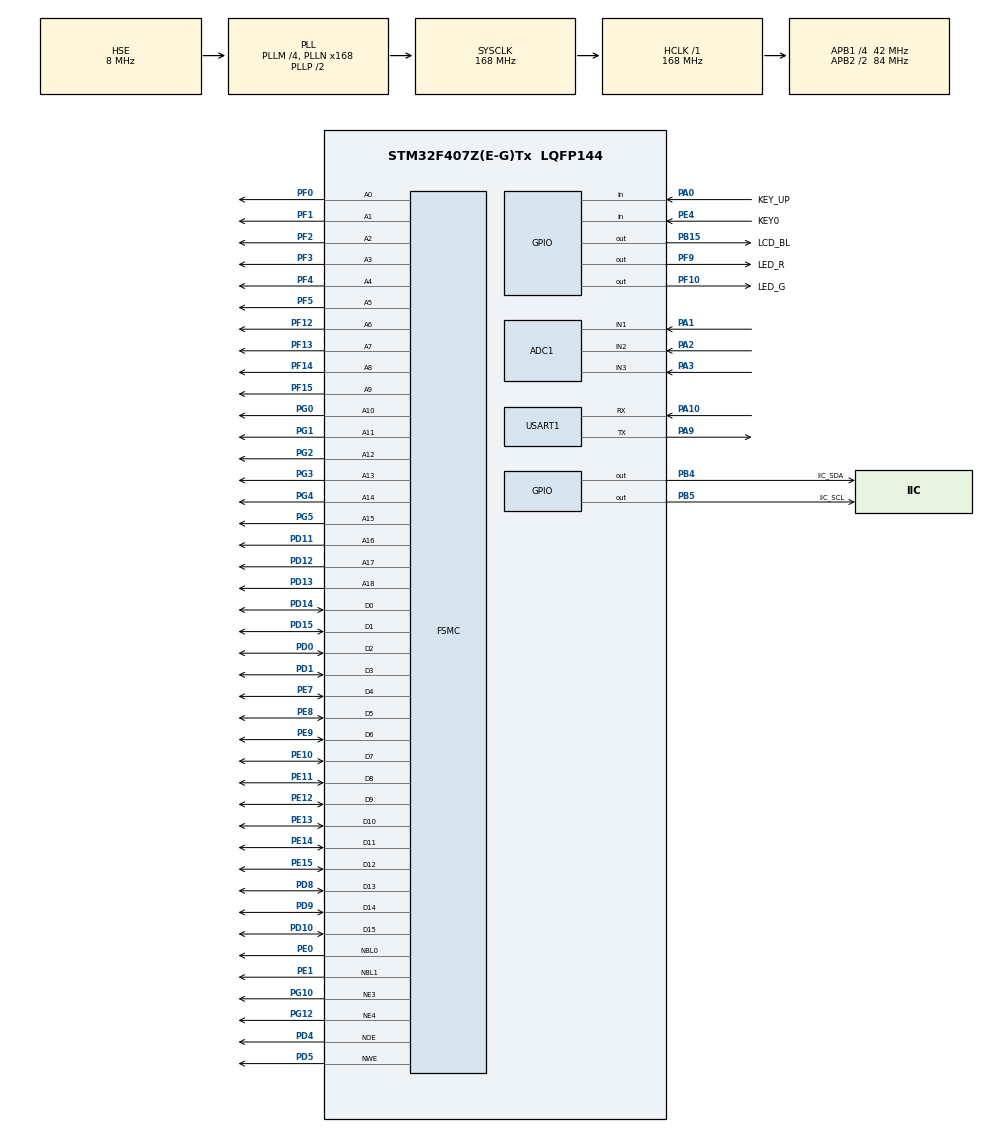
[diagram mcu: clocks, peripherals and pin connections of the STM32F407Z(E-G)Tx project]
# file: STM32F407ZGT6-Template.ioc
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ADC1.Channel-1\#ChannelRegularConversion=ADC_CHANNEL_1
ADC1.Channel-2\#ChannelRegularConversion=ADC_CHANNEL_2
ADC1.Channel-3\#ChannelRegularConversion=ADC_CHANNEL_3
ADC1.Channel-4\#ChannelRegularConversion=ADC_CHANNEL_TEMPSENSOR
ADC1.DMAContinuousRequests=DISABLE
ADC1.NbrOfConversion=4
ADC1.NbrOfConversionFlag=1
ADC1.Rank-1\#ChannelRegularConversion=1
ADC1.Rank-2\#ChannelRegularConversion=2
ADC1.Rank-3\#ChannelRegularConversion=3
ADC1.Rank-4\#ChannelRegularConversion=4
ADC1.SamplingTime-1\#ChannelRegularConversion=ADC_SAMPLETIME_28CYCLES
ADC1.SamplingTime-2\#ChannelRegularConversion=ADC_SAMPLETIME_28CYCLES
ADC1.SamplingTime-3\#ChannelRegularConversion=ADC_SAMPLETIME_28CYCLES
ADC1.SamplingTime-4\#ChannelRegularConversion=ADC_SAMPLETIME_28CYCLES
ADC1.master=1
Dma.ADC1.0.Direction=DMA_PERIPH_TO_MEMORY
Dma.ADC1.0.FIFOMode=DMA_FIFOMODE_DISABLE
Dma.ADC1.0.Instance=DMA2_Stream0
Dma.ADC1.0.MemDataAlignment=DMA_MDATAALIGN_WORD
Dma.ADC1.0.MemInc=DMA_MINC_ENABLE
Dma.ADC1.0.Mode=DMA_CIRCULAR
Dma.ADC1.0.PeriphDataAlignment=DMA_PDATAALIGN_WORD
Dma.ADC1.0.PeriphInc=DMA_PINC_DISABLE
Dma.ADC1.0.Priority=DMA_PRIORITY_MEDIUM
Dma.Request0=ADC1
FSMC.AddressSetupTime3=0
FSMC.AddressSetupTime4=2
FSMC.BusTurnAroundDuration3=0
FSMC.BusTurnAroundDuration4=0
FSMC.DataSetupTime3=8
FSMC.DataSetupTime4=16
FSMC.ExtendedAddressSetupTime4=4
FSMC.ExtendedBusTurnAroundDuration4=0
FSMC.ExtendedDataSetupTime4=9
FSMC.ExtendedMode4=FSMC_EXTENDED_MODE_ENABLE
FSMC.WriteOperation3=FSMC_WRITE_OPERATION_ENABLE
Mcu.Family=STM32F4
Mcu.Name=STM32F407Z(E-G)Tx
Mcu.Package=LQFP144
NVIC.DMA2_Stream0_IRQn=true\:0\:0\:false\:false\:true\:false\:true\:true
NVIC.PriorityGroup=NVIC_PRIORITYGROUP_4
NVIC.TIM7_IRQn=true\:0\:0\:false\:false\:true\:true\:true\:true
NVIC.USART1_IRQn=true\:0\:0\:false\:false\:true\:true\:true\:true
PA0-WKUP.GPIO_Label=KEY_UP
PA0-WKUP.GPIO_PuPd=GPIO_PULLDOWN
PA0-WKUP.Signal=GPIO_Input
PA1.Signal=ADCx_IN1
PA10.Mode=Asynchronous
PA10.Signal=USART1_RX
PA13.Mode=Serial_Wire
PA13.Signal=SYS_JTMS-SWDIO
PA14.Mode=Serial_Wire
PA14.Signal=SYS_JTCK-SWCLK
PA2.Signal=ADCx_IN2
PA3.Signal=ADCx_IN3
PA9.Mode=Asynchronous
PA9.Signal=USART1_TX
PB15.GPIO_Label=LCD_BL
PB15.Signal=GPIO_Output
PB4.GPIO_Label=IIC_SDA
PB4.GPIO_ModeDefaultOutputPP=GPIO_MODE_OUTPUT_OD
PB4.GPIO_PuPd=GPIO_PULLUP
PB4.GPIO_Speed=GPIO_SPEED_FREQ_VERY_HIGH
PB4.PinState=GPIO_PIN_SET
PB4.Signal=GPIO_Output
PB5.GPIO_Label=IIC_SCL
PB5.GPIO_ModeDefaultOutputPP=GPIO_MODE_OUTPUT_PP
PB5.GPIO_PuPd=GPIO_PULLUP
PB5.GPIO_Speed=GPIO_SPEED_FREQ_VERY_HIGH
PB5.PinState=GPIO_PIN_SET
PB5.Signal=GPIO_Output
PD0.Signal=FSMC_D2_DA2
PD1.Signal=FSMC_D3_DA3
PD10.Signal=FSMC_D15_DA15
PD11.Signal=FSMC_A16_CLE
PD12.Signal=FSMC_A17_ALE
PD13.Signal=FSMC_A18
PD14.Signal=FSMC_D0_DA0
PD15.Signal=FSMC_D1_DA1
PD4.Signal=FSMC_NOE
PD5.Signal=FSMC_NWE
PD8.Signal=FSMC_D13_DA13
PD9.Signal=FSMC_D14_DA14
PE0.Signal=FSMC_NBL0
PE1.Signal=FSMC_NBL1
PE10.Signal=FSMC_D7_DA7
PE11.Signal=FSMC_D8_DA8
PE12.Signal=FSMC_D9_DA9
PE13.Signal=FSMC_D10_DA10
PE14.Signal=FSMC_D11_DA11
PE15.Signal=FSMC_D12_DA12
PE4.GPIO_Label=KEY0
PE4.GPIO_PuPd=GPIO_PULLDOWN
PE4.Signal=GPIO_Input
PE7.Signal=FSMC_D4_DA4
PE8.Signal=FSMC_D5_DA5
PE9.Signal=FSMC_D6_DA6
PF0.Signal=FSMC_A0
PF1.Signal=FSMC_A1
PF10.GPIO_Label=LED_G
PF10.GPIO_PuPd=GPIO_PULLUP
PF10.PinState=GPIO_PIN_SET
PF10.Signal=GPIO_Output
PF12.Signal=FSMC_A6
PF13.Signal=FSMC_A7
PF14.Signal=FSMC_A8
PF15.Signal=FSMC_A9
PF2.Signal=FSMC_A2
PF3.Signal=FSMC_A3
PF4.Signal=FSMC_A4
PF5.Signal=FSMC_A5
PF9.GPIO_Label=LED_R
PF9.GPIO_PuPd=GPIO_PULLUP
PF9.PinState=GPIO_PIN_SET
PF9.Signal=GPIO_Output
PG0.Signal=FSMC_A10
PG1.Signal=FSMC_A11
PG10.Mode=NorPsramChipSelect3_3
PG10.Signal=FSMC_NE3
PG12.Mode=NorPsramChipSelect4_4
PG12.Signal=FSMC_NE4
PG2.Signal=FSMC_A12
PG3.Signal=FSMC_A13
PG4.Signal=FSMC_A14
PG5.Signal=FSMC_A15
PH0-OSC_IN.Mode=HSE-External-Oscillator
PH0-OSC_IN.Signal=RCC_OSC_IN
PH1-OSC_OUT.Mode=HSE-External-Oscillator
PH1-OSC_OUT.Signal=RCC_OSC_OUT
ProjectManager.HeapSize=0x200
ProjectManager.StackSize=0x400
ProjectManager.TargetToolchain=MDK-ARM V5.27
RCC.48MHZClocksFreq_Value=48000000
RCC.AHBFreq_Value=168000000
RCC.APB1CLKDivider=RCC_HCLK_DIV4
RCC.APB1Freq_Value=42000000
RCC.APB1TimFreq_Value=84000000
RCC.APB2CLKDivider=RCC_HCLK_DIV2
RCC.APB2Freq_Value=84000000
RCC.APB2TimFreq_Value=168000000
RCC.CortexFreq_Value=168000000
RCC.FLatency=FLASH_LATENCY_5
RCC.HCLKFreq_Value=168000000
RCC.HSE_VALUE=8000000
RCC.HSI_VALUE=16000000
RCC.LSE_VALUE=32768
RCC.PLLM=4
RCC.PLLN=168
RCC.PLLQ=7
RCC.PLLSourceVirtual=RCC_PLLSOURCE_HSE
RCC.SYSCLKFreq_VALUE=168000000
RCC.SYSCLKSource=RCC_SYSCLKSOURCE_PLLCLK
RCC.VCOOutputFreq_Value=336000000
SH.ADCx_IN1.0=ADC1_IN1,IN1
SH.ADCx_IN2.0=ADC1_IN2,IN2
SH.ADCx_IN3.0=ADC1_IN3,IN3
SH.FSMC_A0.0=FSMC_A0,19b-a3
SH.FSMC_A1.0=FSMC_A1,19b-a3
SH.FSMC_A10.0=FSMC_A10,19b-a3
SH.FSMC_A11.0=FSMC_A11,19b-a3
SH.FSMC_A12.0=FSMC_A12,19b-a3
SH.FSMC_A13.0=FSMC_A13,19b-a3
SH.FSMC_A14.0=FSMC_A14,19b-a3
SH.FSMC_A15.0=FSMC_A15,19b-a3
SH.FSMC_A16_CLE.0=FSMC_A16,19b-a3
SH.FSMC_A17_ALE.0=FSMC_A17,19b-a3
SH.FSMC_A18.0=FSMC_A18,19b-a3
SH.FSMC_A2.0=FSMC_A2,19b-a3
SH.FSMC_A3.0=FSMC_A3,19b-a3
SH.FSMC_A4.0=FSMC_A4,19b-a3
SH.FSMC_A5.0=FSMC_A5,19b-a3
SH.FSMC_A6.0=FSMC_A6,A6_4
SH.FSMC_A6.1=FSMC_A6,19b-a3
SH.FSMC_A7.0=FSMC_A7,19b-a3
SH.FSMC_A8.0=FSMC_A8,19b-a3
SH.FSMC_A9.0=FSMC_A9,19b-a3
SH.FSMC_D0_DA0.0=FSMC_D0,16b-d4
SH.FSMC_D0_DA0.1=FSMC_D0,16b-d3
SH.FSMC_D10_DA10.0=FSMC_D10,16b-d4
SH.FSMC_D10_DA10.1=FSMC_D10,16b-d3
SH.FSMC_D11_DA11.0=FSMC_D11,16b-d4
SH.FSMC_D11_DA11.1=FSMC_D11,16b-d3
SH.FSMC_D12_DA12.0=FSMC_D12,16b-d4
SH.FSMC_D12_DA12.1=FSMC_D12,16b-d3
SH.FSMC_D13_DA13.0=FSMC_D13,16b-d4
SH.FSMC_D13_DA13.1=FSMC_D13,16b-d3
SH.FSMC_D14_DA14.0=FSMC_D14,16b-d4
SH.FSMC_D14_DA14.1=FSMC_D14,16b-d3
SH.FSMC_D15_DA15.0=FSMC_D15,16b-d4
SH.FSMC_D15_DA15.1=FSMC_D15,16b-d3
SH.FSMC_D1_DA1.0=FSMC_D1,16b-d4
SH.FSMC_D1_DA1.1=FSMC_D1,16b-d3
SH.FSMC_D2_DA2.0=FSMC_D2,16b-d4
SH.FSMC_D2_DA2.1=FSMC_D2,16b-d3
SH.FSMC_D3_DA3.0=FSMC_D3,16b-d4
SH.FSMC_D3_DA3.1=FSMC_D3,16b-d3
SH.FSMC_D4_DA4.0=FSMC_D4,16b-d4
SH.FSMC_D4_DA4.1=FSMC_D4,16b-d3
SH.FSMC_D5_DA5.0=FSMC_D5,16b-d4
SH.FSMC_D5_DA5.1=FSMC_D5,16b-d3
SH.FSMC_D6_DA6.0=FSMC_D6,16b-d4
SH.FSMC_D6_DA6.1=FSMC_D6,16b-d3
SH.FSMC_D7_DA7.0=FSMC_D7,16b-d4
SH.FSMC_D7_DA7.1=FSMC_D7,16b-d3
SH.FSMC_D8_DA8.0=FSMC_D8,16b-d4
SH.FSMC_D8_DA8.1=FSMC_D8,16b-d3
SH.FSMC_D9_DA9.0=FSMC_D9,16b-d4
SH.FSMC_D9_DA9.1=FSMC_D9,16b-d3
SH.FSMC_NBL0.0=FSMC_NBL0,2ByteEnable3
SH.FSMC_NBL1.0=FSMC_NBL1,2ByteEnable3
SH.FSMC_NOE.0=FSMC_NOE,Lcd4
SH.FSMC_NOE.1=FSMC_NOE,Sram3
SH.FSMC_NWE.0=FSMC_NWE,Lcd4
SH.FSMC_NWE.1=FSMC_NWE,Sram3
TIM6.Period=10000
TIM6.Prescaler=84
TIM7.Period=10000-1
TIM7.Prescaler=8400-1
USART1.VirtualMode=VM_ASYNC
VP_ADC1_TempSens_Input.Mode=IN-TempSens
VP_RNG_VS_RNG.Mode=RNG_Activate
VP_TIM6_VS_ClockSourceINT.Mode=Enable_Timer
VP_TIM7_VS_ClockSourceINT.Mode=Enable_Timer
board=custom

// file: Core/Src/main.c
/* USER CODE BEGIN Header */
/**
  ******************************************************************************
  * @file           : main.c
  * @brief          : Main program body
  ******************************************************************************
  * @attention
  *
  * Copyright (c) 2023 STMicroelectronics.
  * All rights reserved.
  *
  * This software is licensed under terms that can be found in the LICENSE file
  * in the root directory of this software component.
  * If no LICENSE file comes with this software, it is provided AS-IS.
  *
  ******************************************************************************
  */
/* USER CODE END Header */
#include "main.h"
#include "adc.h"
#include "dma.h"
#include "rng.h"
#include "tim.h"
#include "usart.h"
#include "gpio.h"
#include "fsmc.h"

/* USER CODE BEGIN PV */
uint8_t idle_rec_buf[100];
uint32_t adc_value[4];
/* USER CODE END PV */

void SystemClock_Config(void);

int main(void)
{

  /* MCU Configuration--------------------------------------------------------*/

  /* Reset of all peripherals, Initializes the Flash interface and the Systick. */
  HAL_Init();

  /* Configure the system clock */
  SystemClock_Config();

  /* Initialize all configured peripherals */
  MX_GPIO_Init();
  MX_DMA_Init();
  MX_USART1_UART_Init();
  MX_TIM7_Init();
  MX_RNG_Init();
  MX_FSMC_Init();
  MX_TIM6_Init();
  MX_ADC1_Init();
  /* USER CODE BEGIN 2 */

	HAL_TIM_Base_Start_IT(&htim7);
	HAL_UARTEx_ReceiveToIdle_IT(&huart1, idle_rec_buf, 100);	/* 每次使用发生中断后不会自动恢复,要再次使用这个函数 */

	HAL_ADC_Start_DMA(&hadc1, adc_value, 4);	/* 自会使用一次要在中断中再次打开 */
  /* USER CODE END 2 */

  /* Infinite loop */
  /* USER CODE BEGIN WHILE */

  while (1)
  {

		uint8_t key = Get_key_with_undo(20);
		if(key == key_up_down)
		{
		}
		if(key == key0_down)
		{
		}

    /* USER CODE END WHILE */

  }
}

void SystemClock_Config(void)
{
  RCC_OscInitTypeDef RCC_OscInitStruct = {0};
  RCC_ClkInitTypeDef RCC_ClkInitStruct = {0};

  /** Configure the main internal regulator output voltage
  */
  __HAL_RCC_PWR_CLK_ENABLE();
  __HAL_PWR_VOLTAGESCALING_CONFIG(PWR_REGULATOR_VOLTAGE_SCALE1);

  /** Initializes the RCC Oscillators according to the specified parameters
  * in the RCC_OscInitTypeDef structure.
  */
  RCC_OscInitStruct.OscillatorType = RCC_OSCILLATORTYPE_HSE;
  RCC_OscInitStruct.HSEState = RCC_HSE_ON;
  RCC_OscInitStruct.PLL.PLLState = RCC_PLL_ON;
  RCC_OscInitStruct.PLL.PLLSource = RCC_PLLSOURCE_HSE;
  RCC_OscInitStruct.PLL.PLLM = 4;
  RCC_OscInitStruct.PLL.PLLN = 168;
  RCC_OscInitStruct.PLL.PLLP = RCC_PLLP_DIV2;
  RCC_OscInitStruct.PLL.PLLQ = 7;
  if (HAL_RCC_OscConfig(&RCC_OscInitStruct) != HAL_OK)
  {
    Error_Handler();
  }

  /** Initializes the CPU, AHB and APB buses clocks
  */
  RCC_ClkInitStruct.ClockType = RCC_CLOCKTYPE_HCLK|RCC_CLOCKTYPE_SYSCLK
                              |RCC_CLOCKTYPE_PCLK1|RCC_CLOCKTYPE_PCLK2;
  RCC_ClkInitStruct.SYSCLKSource = RCC_SYSCLKSOURCE_PLLCLK;
  RCC_ClkInitStruct.AHBCLKDivider = RCC_SYSCLK_DIV1;
  RCC_ClkInitStruct.APB1CLKDivider = RCC_HCLK_DIV4;
  RCC_ClkInitStruct.APB2CLKDivider = RCC_HCLK_DIV2;

  if (HAL_RCC_ClockConfig(&RCC_ClkInitStruct, FLASH_LATENCY_5) != HAL_OK)
  {
    Error_Handler();
  }
}

/* USER CODE BEGIN 4 */

/* ADC采集完后产生中断函数 */
void HAL_ADC_ConvCpltCallback(ADC_HandleTypeDef* hadc)
{
	if(hadc == &hadc1)
	{
		printf("PA1 %d\r\n", adc_value[0]);				/* 读取PA1的ADC值 */
		printf("PA2 %d\r\n", adc_value[1]);				/* 读取PA2的ADC值 */
		printf("PA3 %d\r\n", adc_value[2]);				/* 读取PA3的ADC值 */
		printf("温度 %d\r\n", adc_value[3]);			/* 读取内部芯片温度的ADC值 */
		HAL_ADC_Start_DMA(&hadc1, adc_value, 4);	/* 再次打开DMA传送 */
	}
}
/* 定时器回调函数 */
void HAL_TIM_PeriodElapsedCallback(TIM_HandleTypeDef *htim)
{
	/* 定时一秒 */
	if(htim == &htim7)
	{

	}
}

/* 串口IDLE中断函数 */
void HAL_UARTEx_RxEventCallback(UART_HandleTypeDef *huart, uint16_t Size)
{
	if(huart == &huart1)
	{
		idle_rec_buf[Size] = '\0';

		HAL_UART_Transmit(&huart1, idle_rec_buf, strlen((char*)idle_rec_buf), 0xff);

		HAL_UARTEx_ReceiveToIdle_IT(&huart1, idle_rec_buf, 100);	/* 再次打开串口IDLE中断接收函数 */

	}
}
/* USER CODE END 4 */

void Error_Handler(void)
{
  __disable_irq();
  while (1)
  {
  }
}
